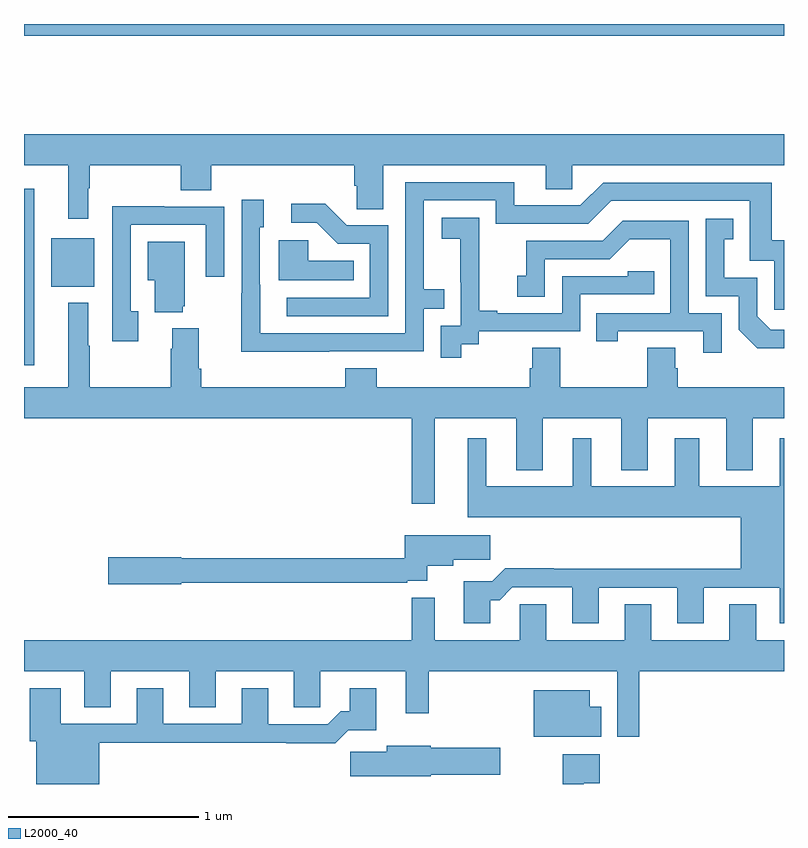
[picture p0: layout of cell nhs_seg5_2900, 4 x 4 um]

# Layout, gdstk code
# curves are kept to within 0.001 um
import gdstk
lib = gdstk.Library(unit=1e-6, precision=1e-09)
def R(c, l, rs):  # rectangles x0, y0, x1, y1
    for r in rs: c.add(gdstk.rectangle(r[:2], r[2:], *l))
def P(c, l, *ps):  # polygons
    for p in ps: c.add(gdstk.Polygon(p, *l))
L2000_40 = (2000, 40)

nhs_seg5_2900 = lib.new_cell('nhs_seg5_2900')
R(nhs_seg5_2900, L2000_40, [(279,893.003,279.055,893.932), (279.143,893.417,279.37,893.671), (279,894.736,283,894.799)])
P(nhs_seg5_2900, L2000_40, [(279.337,893.935),(279.347,893.935),(279.347,894.056),(279.826,894.056),(279.826,893.923),(279.986,893.923),(279.986,894.056),(280.739,894.056),(280.739,893.947),(280.752,893.947),(280.752,893.824),(280.891,893.824),(280.891,894.056),(281.747,894.056),(281.747,893.929),(281.886,893.929),(281.886,894.056),(283,894.056),(283,894.22),(279,894.22),(279,894.056),(279.233,894.056),(279.233,893.775),(279.337,893.775)],
  [(280.607,893.076),(281.103,893.076),(281.103,893.301),(281.213,893.301),(281.213,893.402),(281.103,893.402),(281.103,893.871),(281.484,893.871),(281.484,893.748),(281.97,893.748),(282.09,893.868),(282.819,893.868),(282.819,893.553),(282.948,893.553),(282.948,893.295),(283,893.295),(283,893.662),(282.935,893.662),(282.935,893.964),(282.048,893.964),(281.928,893.844),(281.581,893.844),(281.581,893.967),(281.007,893.967),(281.007,893.172),(280.243,893.172),(280.242,893.73),(280.261,893.73),(280.261,893.875),(280.146,893.875),(280.146,893.381),(280.144,893.381),(280.144,893.075)],
  [(280.917,893.739),(280.698,893.739),(280.585,893.852),(280.407,893.852),(280.407,893.754),(280.541,893.754),(280.652,893.643),(280.821,893.643),(280.821,893.358),(280.383,893.358),(280.383,893.262),(280.917,893.262)],
  [(279.601,893.286),(279.561,893.286),(279.561,893.742),(279.957,893.742),(279.957,893.469),(280.053,893.469),(280.053,893.838),(279.737,893.838),(279.737,893.84),(279.465,893.84),(279.465,893.13),(279.601,893.13)],
  [(281.302,893.113),(281.394,893.113),(281.394,893.181),(281.928,893.181),(281.928,893.376),(282.317,893.376),(282.317,893.499),(282.177,893.499),(282.177,893.472),(281.832,893.472),(281.832,893.277),(281.491,893.277),(281.491,893.29),(281.396,893.29),(281.396,893.573),(281.397,893.573),(281.397,893.779),(281.199,893.779),(281.199,893.669),(281.297,893.669),(281.297,893.441),(281.298,893.441),(281.298,893.211),(281.193,893.211),(281.193,893.043),(281.302,893.043)],
  [(283,893.19),(282.93,893.19),(282.858,893.262),(282.858,893.463),(282.685,893.463),(282.685,893.667),(282.734,893.667),(282.734,893.773),(282.588,893.773),(282.588,893.367),(282.762,893.367),(282.762,893.19),(282.86,893.093),(283,893.093)],
  [(282.672,893.277),(282.498,893.277),(282.498,893.763),(282.152,893.763),(282.047,893.658),(281.644,893.658),(281.644,893.473),(281.595,893.473),(281.595,893.364),(281.742,893.364),(281.742,893.562),(282.084,893.562),(282.188,893.666),(282.402,893.666),(282.402,893.277),(282.013,893.277),(282.013,893.13),(282.124,893.13),(282.124,893.181),(282.575,893.181),(282.575,893.07),(282.672,893.07)],
  [(280.736,893.554),(280.497,893.554),(280.497,893.662),(280.34,893.662),(280.34,893.45),(280.736,893.45)],
  [(279.836,893.313),(279.847,893.313),(279.847,893.653),(279.65,893.653),(279.65,893.45),(279.689,893.45),(279.689,893.282),(279.836,893.282)],
  [(281.161,892.724),(281.591,892.724),(281.591,892.451),(281.731,892.451),(281.731,892.724),(282.143,892.724),(282.143,892.451),(282.283,892.451),(282.283,892.724),(282.695,892.724),(282.695,892.451),(282.835,892.451),(282.835,892.724),(283,892.724),(283,892.888),(282.44,892.888),(282.44,892.986),(282.427,892.986),(282.427,893.096),(282.28,893.096),(282.28,892.888),(281.823,892.888),(281.823,893.096),(281.675,893.096),(281.675,892.986),(281.663,892.986),(281.663,892.888),(280.856,892.888),(280.856,892.987),(280.691,892.987),(280.691,892.888),(279.932,892.888),(279.932,892.984),(279.919,892.984),(279.919,893.197),(279.779,893.197),(279.779,893.09),(279.772,893.09),(279.772,892.888),(279.347,892.888),(279.347,893.105),(279.337,893.105),(279.337,893.332),(279.233,893.332),(279.233,892.888),(279,892.888),(279,892.724),(281.04,892.724),(281.04,892.275),(281.161,892.275)],
  [(281.455,891.767),(281.504,891.767),(281.571,891.834),(281.885,891.834),(281.885,891.645),(282.025,891.645),(282.025,891.831),(282.437,891.831),(282.437,891.645),(282.577,891.645),(282.577,891.831),(282.977,891.831),(282.977,891.645),(283,891.645),(283,892.618),(282.977,892.618),(282.977,892.366),(282.553,892.366),(282.553,892.618),(282.425,892.618),(282.425,892.366),(281.986,892.366),(281.986,892.618),(281.888,892.618),(281.888,892.366),(281.434,892.366),(281.434,892.618),(281.336,892.618),(281.336,892.202),(282.773,892.202),(282.773,891.932),(281.789,891.932),(281.789,891.935),(281.534,891.935),(281.464,891.865),(281.315,891.865),(281.315,891.645),(281.455,891.645)],
  [(279.828,891.858),(281.018,891.858),(281.018,891.87),(281.123,891.87),(281.123,891.947),(281.26,891.947),(281.26,891.979),(281.455,891.979),(281.455,892.108),(281.005,892.108),(281.005,891.986),(279.828,891.986),(279.828,891.992),(279.444,891.992),(279.444,891.85),(279.828,891.85)],
  [(282.123,891.048),(282.239,891.048),(282.239,891.392),(283,891.392),(283,891.556),(282.853,891.556),(282.853,891.746),(282.713,891.746),(282.713,891.556),(282.301,891.556),(282.301,891.746),(282.161,891.746),(282.161,891.556),(281.749,891.556),(281.749,891.746),(281.61,891.746),(281.61,891.556),(281.161,891.556),(281.161,891.778),(281.04,891.778),(281.04,891.556),(279,891.556),(279,891.392),(279.317,891.392),(279.317,891.202),(279.457,891.202),(279.457,891.392),(279.869,891.392),(279.869,891.202),(280.009,891.202),(280.009,891.392),(280.421,891.392),(280.421,891.202),(280.56,891.202),(280.56,891.392),(281.009,891.392),(281.009,891.171),(281.131,891.171),(281.131,891.392),(282.123,891.392)],
  [(279.397,891.016),(280.381,891.016),(280.381,891.014),(280.637,891.014),(280.706,891.083),(280.855,891.083),(280.855,891.304),(280.715,891.304),(280.715,891.181),(280.666,891.181),(280.599,891.114),(280.285,891.114),(280.285,891.304),(280.145,891.304),(280.145,891.117),(279.733,891.117),(279.733,891.304),(279.593,891.304),(279.593,891.117),(279.193,891.117),(279.193,891.304),(279.029,891.304),(279.029,891.024),(279.065,891.024),(279.065,890.799),(279.397,890.799)],
  [(282.038,891.205),(281.977,891.205),(281.977,891.292),(281.684,891.292),(281.684,891.047),(282.038,891.047)],
  [(281.142,890.849),(281.506,890.849),(281.506,890.991),(281.142,890.991),(281.142,891.001),(280.91,891.001),(280.91,890.969),(280.716,890.969),(280.716,890.84),(281.142,890.84)],
  [(281.945,890.804),(282.031,890.804),(282.031,890.956),(281.835,890.956),(281.835,890.799),(281.945,890.799)])

lib.write_gds('nhs_seg5_2900.gds')
